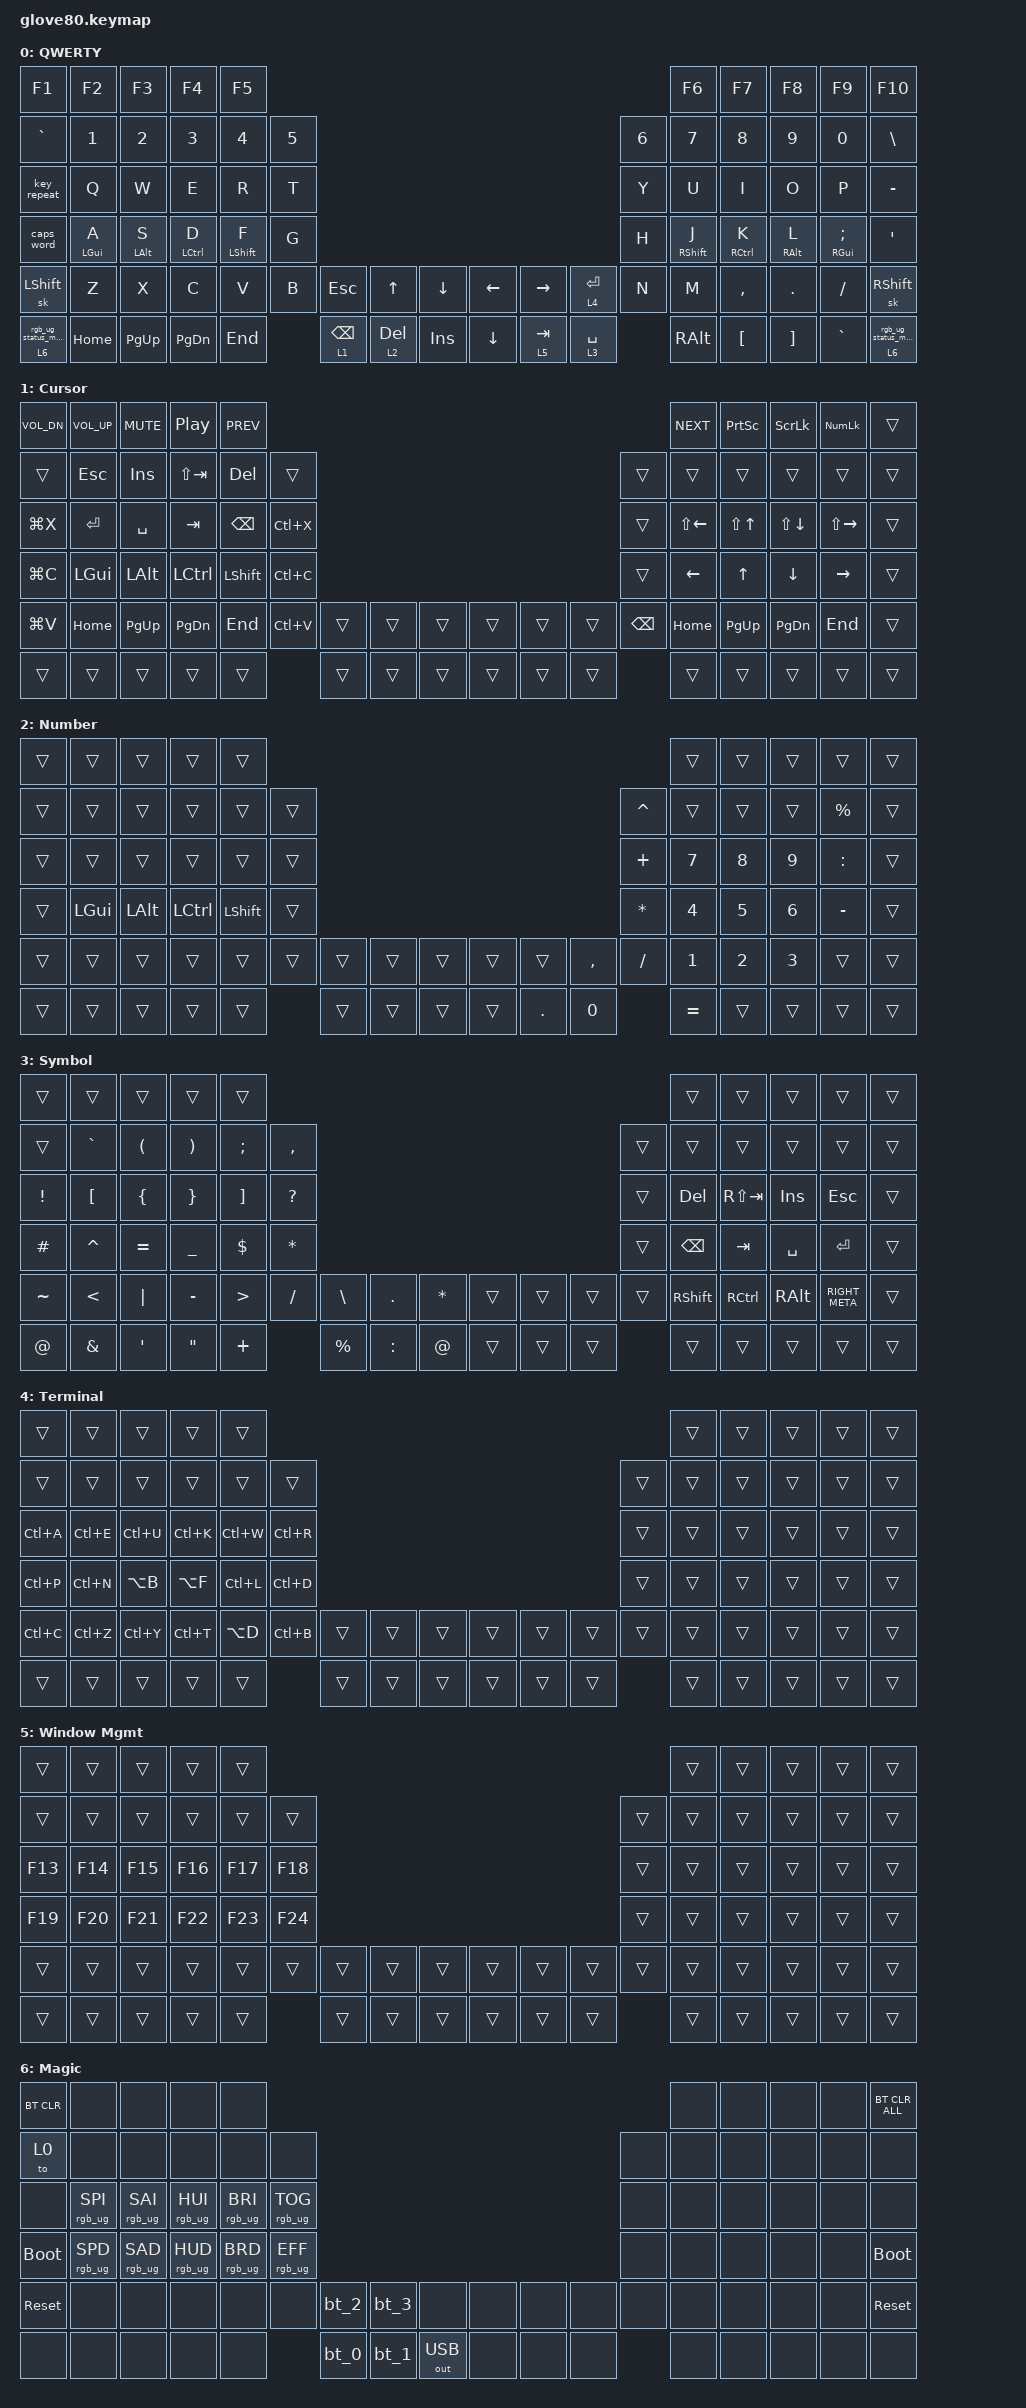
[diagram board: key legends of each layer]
/*
 * Glove80 QWERTY / home-row mods, derived from user's simplified v52 keymap.
 *
 * Seven layers (by numeric index):
 *   0 QWERTY       1 Cursor       2 Number       3 Symbol
 *   4 Terminal     5 Window Mgmt  6 Magic
 *
 * Tap / hold (on QWERTY):
 *   Enter / Terminal (position 57)
 *   Backspace / Cursor (position 69)
 *   Delete / Number (position 70)
 *   Tab / Window Mgmt (position 73)
 *   Space / Symbol (position 74)
 *   Magic / RGB status (hold / tap) on bottom outside corners (64, 79)
 *
 * Cursor: media & PrintScreen/ScrollLock/NumLock on F-row;
 *   normal arrows on home row and Shift+arrows directly above.
 *   Clipboard: LEFT edge = macOS Cmd+X/C/V, RIGHT edge = Linux/Windows Ctrl+X/C/V.
 * Terminal: shell / Readline-style chords on LEFT hand (Bash/Zsh emacs mode).
 * Window Mgmt: F13-F24 on LEFT hand for OS-side shortcuts.
 * Magic retains factory-style Bluetooth, RGB, bootloader and reset controls.
 *
 * No pointing/mouse firmware configuration is required by this keymap.
 */

#include <behaviors.dtsi>
#include <dt-bindings/zmk/bt.h>
#include <dt-bindings/zmk/keys.h>
#include <dt-bindings/zmk/outputs.h>
#include <dt-bindings/zmk/rgb.h>

/ {
    behaviors {
        // Home-row modifiers. Holding ~230 ms activates the modifier;
        // opposite-hand chords also resolve reliably. Quick rolling taps
        // favor letters. No preprocessor macros or OS-specific keycodes.

        hml: home_row_mod_left {
            compatible = "zmk,behavior-hold-tap";
            #binding-cells = <2>;
            flavor = "balanced";
            tapping-term-ms = <230>;
            quick-tap-ms = <175>;
            require-prior-idle-ms = <125>;
            bindings = <&kp>, <&kp>;

            hold-trigger-key-positions = <5 6 7 8 9 16 17 18 19 20 21 28 29 30 31 32 33 40 41 42 43 44 45 55 56 57 58 59 60 61 62 63 72 73 74 75 76 77 78 79>;
            hold-trigger-on-release;
        };

        hmr: home_row_mod_right {
            compatible = "zmk,behavior-hold-tap";
            #binding-cells = <2>;
            flavor = "balanced";
            tapping-term-ms = <230>;
            quick-tap-ms = <175>;
            require-prior-idle-ms = <125>;
            bindings = <&kp>, <&kp>;

            hold-trigger-key-positions = <0 1 2 3 4 10 11 12 13 14 15 22 23 24 25 26 27 34 35 36 37 38 39 46 47 48 49 50 51 52 53 54 64 65 66 67 68 69 70 71>;
            hold-trigger-on-release;
        };

        // Like MoErgo's factory Magic key: hold for layer 6, tap for RGB status.

        magic: magic_hold_tap {
            compatible = "zmk,behavior-hold-tap";
            #binding-cells = <2>;
            flavor = "tap-preferred";
            tapping-term-ms = <200>;
            bindings = <&mo>, <&rgb_ug_status_macro>;
        };
    };

    macros {
        rgb_ug_status_macro: rgb_ug_status_macro_0 {
            compatible = "zmk,behavior-macro";
            #binding-cells = <0>;
            bindings = <&rgb_ug RGB_STATUS>;
        };

        // Factory-style Bluetooth choices select BLE transport first.

        bt_0: bt_profile_macro_0 {
            compatible = "zmk,behavior-macro";
            #binding-cells = <0>;
            bindings = <&out OUT_BLE &bt BT_SEL 0>;
        };

        bt_1: bt_profile_macro_1 {
            compatible = "zmk,behavior-macro";
            #binding-cells = <0>;
            bindings = <&out OUT_BLE &bt BT_SEL 1>;
        };

        bt_2: bt_profile_macro_2 {
            compatible = "zmk,behavior-macro";
            #binding-cells = <0>;
            bindings = <&out OUT_BLE &bt BT_SEL 2>;
        };

        bt_3: bt_profile_macro_3 {
            compatible = "zmk,behavior-macro";
            #binding-cells = <0>;
            bindings = <&out OUT_BLE &bt BT_SEL 3>;
        };
    };

    keymap {
        compatible = "zmk,keymap";

        qwerty_layer {
            display-name = "QWERTY";
            bindings = <
&kp F1       &kp F2       &kp F3       &kp F4         &kp F5                                                                                                  &kp F6        &kp F7        &kp F8       &kp F9          &kp F10
&kp GRAVE    &kp N1       &kp N2       &kp N3         &kp N4        &kp N5                                                                            &kp N6  &kp N7        &kp N8        &kp N9       &kp N0          &kp BACKSLASH
&key_repeat  &kp Q        &kp W        &kp E          &kp R         &kp T                                                                             &kp Y   &kp U         &kp I         &kp O        &kp P           &kp MINUS
&caps_word   &hml LGUI A  &hml LALT S  &hml LCTRL D   &hml LSHFT F  &kp G                                                                             &kp H   &hmr RSHFT J  &hmr RCTRL K  &hmr RALT L  &hmr RGUI SEMI  &kp SQT
&sk LSHFT    &kp Z        &kp X        &kp C          &kp V         &kp B   &kp ESC     &kp UP_ARROW  &kp DOWN      &kp LEFT  &kp RIGHT  &lt 4 RET    &kp N   &kp M         &kp COMMA     &kp DOT      &kp FSLH        &sk RSHFT
&magic 6 0   &kp HOME     &kp PAGE_UP  &kp PAGE_DOWN  &kp END               &lt 1 BSPC  &lt 2 DEL     &kp INSERT    &kp DOWN  &lt 5 TAB  &lt 3 SPACE          &kp RALT      &kp LBKT      &kp RBKT     &kp GRAVE       &magic 6 0
            >;
        };

        cursor_layer {
            display-name = "Cursor";

            // Cmd shortcuts at left end, Ctrl shortcuts at right end of left-hand rows 3-5.
            // Shift+arrows directly above arrows on right-hand home row.

            bindings = <
&kp C_VOL_DN  &kp C_VOL_UP  &kp C_MUTE  &kp C_PLAY_PAUSE  &kp C_PREV                                                                         &kp C_NEXT    &kp PRINTSCREEN  &kp SLCK      &kp KP_NUM     &trans
&trans        &kp ESC       &kp INS     &kp LS(TAB)       &kp DEL     &trans                                                       &trans    &trans        &trans           &trans        &trans         &trans
&kp LG(X)     &kp RET       &kp SPACE   &kp TAB           &kp BSPC    &kp LC(X)                                                    &trans    &kp LS(LEFT)  &kp LS(UP)       &kp LS(DOWN)  &kp LS(RIGHT)  &trans
&kp LG(C)     &kp LGUI      &kp LALT    &kp LCTRL         &kp LSHFT   &kp LC(C)                                                    &trans    &kp LEFT      &kp UP           &kp DOWN      &kp RIGHT      &trans
&kp LG(V)     &kp HOME      &kp PG_UP   &kp PG_DN         &kp END     &kp LC(V)  &trans  &trans  &trans    &trans  &trans  &trans  &kp BSPC  &kp HOME      &kp PG_UP        &kp PG_DN     &kp END        &trans
&trans        &trans        &trans      &trans            &trans                 &trans  &trans  &trans    &trans  &trans  &trans            &trans        &trans           &trans        &trans         &trans
            >;
        };

        number_layer {
            display-name = "Number";
            bindings = <
&trans  &trans    &trans    &trans     &trans                                                                                 &trans     &trans  &trans  &trans       &trans
&trans  &trans    &trans    &trans     &trans     &trans                                                        &kp CARET     &trans     &trans  &trans  &kp PERCENT  &trans
&trans  &trans    &trans    &trans     &trans     &trans                                                        &kp PLUS      &kp N7     &kp N8  &kp N9  &kp COLON    &trans
&trans  &kp LGUI  &kp LALT  &kp LCTRL  &kp LSHFT  &trans                                                        &kp ASTERISK  &kp N4     &kp N5  &kp N6  &kp MINUS    &trans
&trans  &trans    &trans    &trans     &trans     &trans  &trans  &trans  &trans    &trans  &trans   &kp COMMA  &kp SLASH     &kp N1     &kp N2  &kp N3  &trans       &trans
&trans  &trans    &trans    &trans     &trans             &trans  &trans  &trans    &trans  &kp DOT  &kp N0                   &kp EQUAL  &trans  &trans  &trans       &trans
            >;
        };

        symbol_layer {
            display-name = "Symbol";
            bindings = <
&trans           &trans         &trans                &trans                 &trans                                                                                                  &trans           &trans       &trans         &trans          &trans
&trans           &kp GRAVE      &kp LEFT_PARENTHESIS  &kp RIGHT_PARENTHESIS  &kp SEMI          &kp COMMA                                                                     &trans  &trans           &trans       &trans         &trans          &trans
&kp EXCLAMATION  &kp LBKT       &kp LEFT_BRACE        &kp RIGHT_BRACE        &kp RBKT          &kp QUESTION                                                                  &trans  &kp DELETE       &kp RS(TAB)  &kp INSERT     &kp ESCAPE      &trans
&kp HASH         &kp CARET      &kp EQUAL             &kp UNDERSCORE         &kp DOLLAR        &kp ASTRK                                                                     &trans  &kp BACKSPACE    &kp TAB      &kp SPACE      &kp ENTER       &trans
&kp TILDE        &kp LESS_THAN  &kp PIPE              &kp MINUS              &kp GREATER_THAN  &kp FSLH      &kp BSLH     &kp DOT    &kp ASTERISK    &trans  &trans  &trans  &trans  &kp RIGHT_SHIFT  &kp RCTRL    &kp RIGHT_ALT  &kp RIGHT_META  &trans
&kp AT           &kp AMPS       &kp SQT               &kp DOUBLE_QUOTES      &kp PLUS                        &kp PERCENT  &kp COLON  &kp AT          &trans  &trans  &trans          &trans           &trans       &trans         &trans          &trans
            >;
        };

        terminal_layer {
            display-name = "Terminal";

            // Bash/Zsh Readline / Emacs-style chords, mapped to left hand.

            bindings = <
&trans     &trans     &trans     &trans     &trans                                                                          &trans  &trans  &trans  &trans  &trans
&trans     &trans     &trans     &trans     &trans     &trans                                                       &trans  &trans  &trans  &trans  &trans  &trans
&kp LC(A)  &kp LC(E)  &kp LC(U)  &kp LC(K)  &kp LC(W)  &kp LC(R)                                                    &trans  &trans  &trans  &trans  &trans  &trans
&kp LC(P)  &kp LC(N)  &kp LA(B)  &kp LA(F)  &kp LC(L)  &kp LC(D)                                                    &trans  &trans  &trans  &trans  &trans  &trans
&kp LC(C)  &kp LC(Z)  &kp LC(Y)  &kp LC(T)  &kp LA(D)  &kp LC(B)  &trans  &trans  &trans    &trans  &trans  &trans  &trans  &trans  &trans  &trans  &trans  &trans
&trans     &trans     &trans     &trans     &trans                &trans  &trans  &trans    &trans  &trans  &trans          &trans  &trans  &trans  &trans  &trans
            >;
        };

        window_layer {
            display-name = "Window Mgmt";

            // F13-F24 on left hand only; assign intended actions in each host OS.

            bindings = <
&trans   &trans   &trans   &trans   &trans                                                                      &trans  &trans  &trans  &trans  &trans
&trans   &trans   &trans   &trans   &trans   &trans                                                     &trans  &trans  &trans  &trans  &trans  &trans
&kp F13  &kp F14  &kp F15  &kp F16  &kp F17  &kp F18                                                    &trans  &trans  &trans  &trans  &trans  &trans
&kp F19  &kp F20  &kp F21  &kp F22  &kp F23  &kp F24                                                    &trans  &trans  &trans  &trans  &trans  &trans
&trans   &trans   &trans   &trans   &trans   &trans   &trans  &trans  &trans    &trans  &trans  &trans  &trans  &trans  &trans  &trans  &trans  &trans
&trans   &trans   &trans   &trans   &trans            &trans  &trans  &trans    &trans  &trans  &trans          &trans  &trans  &trans  &trans  &trans
            >;
        };

        magic_layer {
            display-name = "Magic";

            // Factory-style hardware controls, unchanged from uploaded keymap.

            bindings = <
&bt BT_CLR   &none            &none            &none            &none                                                                                       &none  &none  &none  &none  &bt BT_CLR_ALL
&to 0        &none            &none            &none            &none            &none                                                               &none  &none  &none  &none  &none  &none
&none        &rgb_ug RGB_SPI  &rgb_ug RGB_SAI  &rgb_ug RGB_HUI  &rgb_ug RGB_BRI  &rgb_ug RGB_TOG                                                     &none  &none  &none  &none  &none  &none
&bootloader  &rgb_ug RGB_SPD  &rgb_ug RGB_SAD  &rgb_ug RGB_HUD  &rgb_ug RGB_BRD  &rgb_ug RGB_EFF                                                     &none  &none  &none  &none  &none  &bootloader
&sys_reset   &none            &none            &none            &none            &none            &bt_2  &bt_3  &none           &none  &none  &none  &none  &none  &none  &none  &none  &sys_reset
&none        &none            &none            &none            &none                             &bt_0  &bt_1  &out OUT_USB    &none  &none  &none         &none  &none  &none  &none  &none
            >;
        };
    };
};

